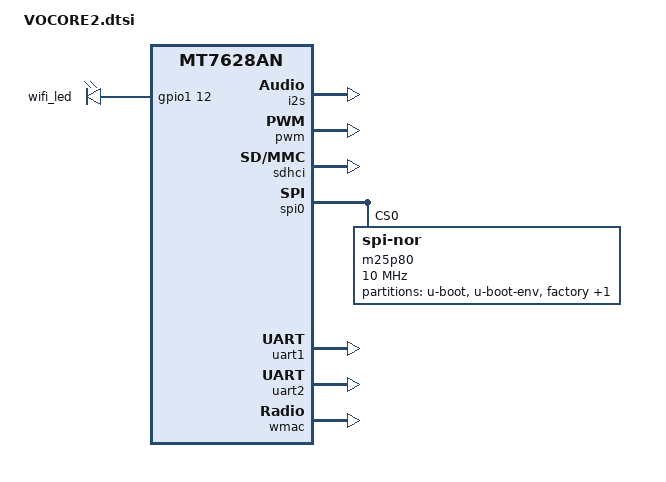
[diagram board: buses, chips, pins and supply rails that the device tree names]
#include "mt7628an.dtsi"

#include <dt-bindings/gpio/gpio.h>
#include <dt-bindings/input/input.h>

/ {
	chosen {
		bootargs = "console=ttyS2,115200";
	};

	gpio-leds {
		compatible = "gpio-leds";

		wifi_led: wifi {
		gpios = <&gpio1 12 GPIO_ACTIVE_HIGH>;

		};
	};
};

&esw {
	mediatek,portmap = <0x7>;
	mediatek,portdisable = <0x3a>;
};

&gdma {
	status = "okay";
};

&i2s {
	status = "okay";
};

&pinctrl {
	state_default: pinctrl0 {
		gpio {
			ralink,group = "gpio";
			ralink,function = "gpio";
		};

		refclk {
			ralink,group = "refclk";
			ralink,function = "gpio";
		};

		agpio {
			ralink,group = "agpio";
			ralink,function = "uart2";
		};

		uart1 {
			ralink,group = "uart1";
			ralink,function = "uart1";
		};

		uart2 {
			ralink,group = "spis";
			ralink,function = "pwm";
		};
	};
};

&pwm {
	status = "okay";
};

&sdhci {
	status = "okay";
	mediatek,cd-low;
};

&spi0 {
	status = "okay";

	m25p80@0 {
		#address-cells = <1>;
		#size-cells = <1>;
		compatible = "jedec,spi-nor";
		reg = <0>;
		spi-max-frequency = <10000000>;
		m25p,chunked-io = <32>;

		partition@0 {
			label = "u-boot";
			reg = <0x0 0x30000>;
			read-only;
		};

		partition@30000 {
			label = "u-boot-env";
			reg = <0x30000 0x10000>;
		};

		factory: partition@40000 {
			label = "factory";
			reg = <0x40000 0x10000>;
			read-only;
		};

		firmware: partition@50000 {
			label = "firmware";
		};
	};
};

&uart1 {
	status = "okay";
};

&uart2 {
	status = "okay";
};

&wmac {
	status = "okay";
	ralink,mtd-eeprom = <&factory 0x4>;
};
